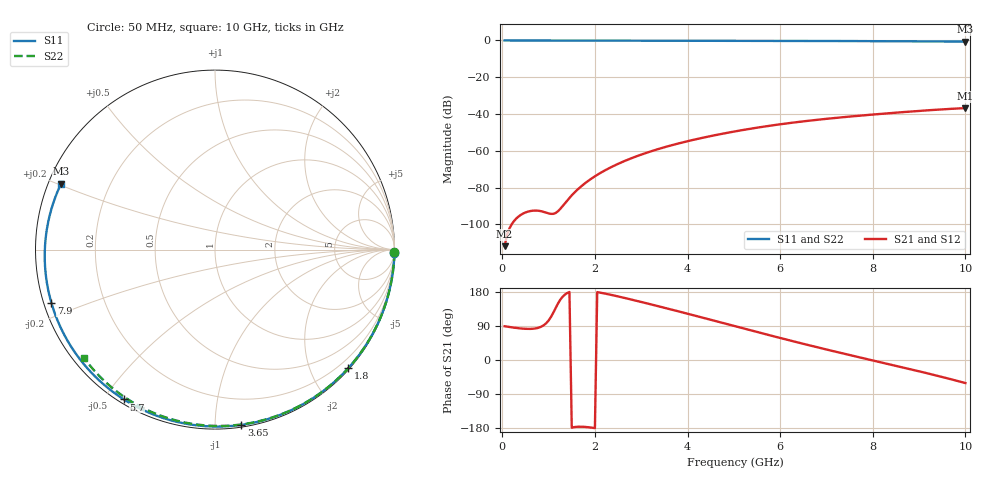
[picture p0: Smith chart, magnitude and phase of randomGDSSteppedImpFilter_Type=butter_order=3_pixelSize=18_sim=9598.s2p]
! freq	dB(S11)	phase(S11)	dB(S12)	phase(S12)
!  dB(S21)	phase(S21)	dB(S22)	phase(S22)
!S-par simulation data
#  GHz  S  DB  R 50
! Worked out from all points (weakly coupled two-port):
!   200 points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, 50 MHz to 10 GHz, reference 50 ohm
!   highest |S21| = -36.80 dB at 10 GHz (marker M1); lowest = -111.9 dB at 50 MHz (marker M2)
!   lowest |S11| = -0.6 dB at 10 GHz (marker M3), VSWR 28.85, Z = 1.81 + j10.3 ohm
!   |S11| at or under -10 dB: nowhere
!   |S22| runs from -0.5 to 0.0 dB; largest |S21 - S12| = 0
!   S11 on the Smith chart (normalised r, x): 50 MHz: 0, -96; 1.8 GHz: 0.02, -2.62; 3.65 GHz: 0.01, -1.16; 5.7 GHz: 0.02, -0.56; 7.9 GHz: 0.02, -0.16; 10 GHz: 0.04, +0.21
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0.05  -0.00 -1.2  -111.90 89.1  -111.90 89.1  -0.00 -0.8
0.4  -0.01 -9.4  -94.87 83.2  -94.87 83.2  -0.01 -6.5
0.8  -0.02 -18.8  -92.71 85.9  -92.71 85.9  -0.02 -12.9
1.2  -0.04 -28.1  -92.96 148.6  -92.96 148.6  -0.02 -19.4
1.65  -0.05 -38.3  -80.54 -176.0  -80.54 -176.0  -0.03 -26.5
1.7  -0.05 -39.5  -79.44 -176.0  -79.44 -176.0  -0.03 -27.3
1.75  -0.05 -40.6  -78.40 -176.2  -78.40 -176.2  -0.04 -28.1
1.8  -0.05 -41.7  -77.41 -176.7  -77.41 -176.7  -0.04 -28.9
2.1  -0.06 -48.4  -72.34 178.1  -72.34 178.1  -0.04 -33.5
2.5  -0.07 -57.2  -67.13 167.8  -67.13 167.8  -0.05 -39.7
2.9  -0.08 -65.8  -63.00 156.2  -63.00 156.2  -0.06 -45.8
3.4  -0.10 -76.3  -58.83 140.9  -58.83 140.9  -0.07 -53.4
3.65  -0.11 -81.4  -57.05 133.2  -57.05 133.2  -0.08 -57.1
4.35  -0.13 -95.5  -52.81 111.0  -52.81 111.0  -0.10 -67.2
5.05  -0.17 -109.0  -49.35 88.4  -49.35 88.4  -0.12 -77.1
5.7  -0.20 -121.3  -46.68 67.6  -46.68 67.6  -0.14 -86.0
6.7  -0.27 -139.8  -43.43 36.6  -43.43 36.6  -0.19 -99.2
7.3  -0.31 -150.8  -41.88 18.9  -41.88 18.9  -0.23 -106.9
7.9  -0.37 -161.9  -40.52 1.7  -40.52 1.7  -0.27 -114.5
8.35  -0.41 -170.4  -39.58 -11.0  -39.58 -11.0  -0.31 -120.1
9.2  -0.50 173.2  -37.98 -35.7  -37.98 -35.7  -0.39 -130.5
10  -0.60 156.8  -36.80 -60.8  -36.80 -60.8  -0.47 -140.4
